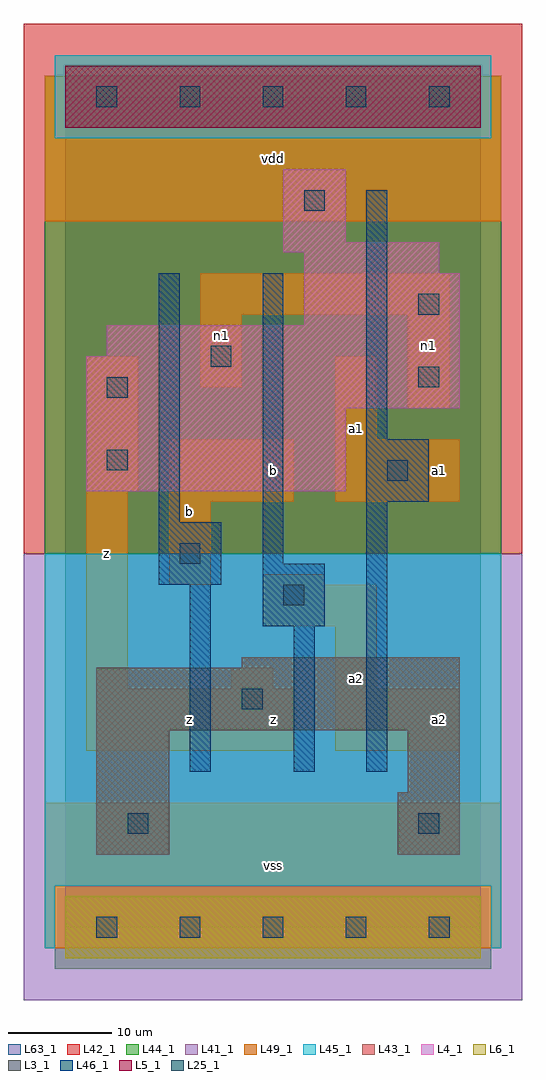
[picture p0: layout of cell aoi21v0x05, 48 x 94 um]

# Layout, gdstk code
import gdstk
lib = gdstk.Library(unit=1e-6, precision=1e-09)
def R(c, l, rs):  # rectangles x0, y0, x1, y1
    for r in rs: c.add(gdstk.rectangle(r[:2], r[2:], *l))
def A(c, l, x, y, w, h, nx, ny, dx, dy):  # array of equal rectangles
    R(c, l, [(x+i*dx, y+j*dy, x+i*dx+w, y+j*dy+h) for i in range(nx) for j in range(ny)])
L3_1 = (3, 1)
L4_1 = (4, 1)
L5_1 = (5, 1)
L6_1 = (6, 1)
L25_1 = (25, 1)
L41_1 = (41, 1)
L42_1 = (42, 1)
L43_1 = (43, 1)
L44_1 = (44, 1)
L45_1 = (45, 1)
L46_1 = (46, 1)
L49_1 = (49, 1)
L63_1 = (63, 1)

aoi21v0x05 = lib.new_cell('aoi21v0x05')
R(aoi21v0x05, L3_1, [(3,7,10,19), (32,7,38,13), (33,13,38,19), (3,19,38,25), (17,25,38,26)])
R(aoi21v0x05, L4_1, [(2,42,27,50), (2,50,38,55), (4,55,38,58), (23,58,38,63), (23,63,36,65), (21,65,36,66), (21,66,27,73)])
R(aoi21v0x05, L5_1, [(0,77,40,83)])
R(aoi21v0x05, L6_1, [(0,-3,40,3), (0,-3,40,3)])
A(aoi21v0x05, L25_1, 3, -1, 2, 2, 5, 2, 8, 80)
R(aoi21v0x05, L25_1, [(6,9,8,11), (34,9,36,11), (17,21,19,23), (21,31,23,33), (11,35,13,37), (31,43,33,45), (4,44,6,46), (4,51,6,53), (34,52,36,54), (14,54,16,56), (34,59,36,61), (23,69,25,71)])
R(aoi21v0x05, L41_1, [(-4,-7,44,36)])
R(aoi21v0x05, L42_1, [(-4,36,44,87)])
R(aoi21v0x05, L43_1, [(0,-3,40,3), (3,7,10,19), (32,7,38,13), (33,13,38,19), (3,19,38,25), (17,25,38,26), (2,42,27,50), (2,50,38,55), (4,55,38,58), (23,58,38,63), (23,63,36,65), (21,65,36,66), (21,66,27,73), (0,77,40,83)])
R(aoi21v0x05, L44_1, [(-1,-4,41,4), (-2,36,42,76), (-2,76,-1,82), (41,76,42,82)])
R(aoi21v0x05, L45_1, [(-2,-2,-1,4), (41,-2,42,4), (-2,4,42,36), (-1,76,41,84)])
R(aoi21v0x05, L46_1, [(12,15,14,33), (22,15,24,29), (29,15,31,41), (19,29,25,35), (9,33,15,39), (19,35,21,63), (9,39,11,63), (29,41,35,47), (29,47,31,71)])
R(aoi21v0x05, L49_1, [(-2,-2,42,12), (2,17,22,23), (26,17,38,23), (2,23,6,42), (16,23,20,25), (26,23,30,29), (19,29,30,33), (10,33,14,41), (19,33,25,34), (10,41,22,47), (26,41,38,47), (2,42,7,55), (26,47,30,55), (33,50,37,59), (13,52,17,59), (13,59,37,63), (-2,68,42,82)])
R(aoi21v0x05, L63_1, [(0,0,40,80)])
aoi21v0x05.add(gdstk.Label('z', (4,36), layer=49, texttype=1))
aoi21v0x05.add(gdstk.Label('z', (12,20), layer=49, texttype=1))
aoi21v0x05.add(gdstk.Label('b', (12,40), layer=49, texttype=1))
aoi21v0x05.add(gdstk.Label('n1', (15,57), layer=49, texttype=1))
aoi21v0x05.add(gdstk.Label('vss', (20,6), layer=49, texttype=1))
aoi21v0x05.add(gdstk.Label('z', (20,20), layer=49, texttype=1))
aoi21v0x05.add(gdstk.Label('a2', (28,24), layer=49, texttype=1))
aoi21v0x05.add(gdstk.Label('b', (20,44), layer=49, texttype=1))
aoi21v0x05.add(gdstk.Label('a1', (28,48), layer=49, texttype=1))
aoi21v0x05.add(gdstk.Label('vdd', (20,74), layer=49, texttype=1))
aoi21v0x05.add(gdstk.Label('a2', (36,20), layer=49, texttype=1))
aoi21v0x05.add(gdstk.Label('a1', (36,44), layer=49, texttype=1))
aoi21v0x05.add(gdstk.Label('n1', (35,56), layer=49, texttype=1))

lib.write_gds('aoi21v0x05.gds')
